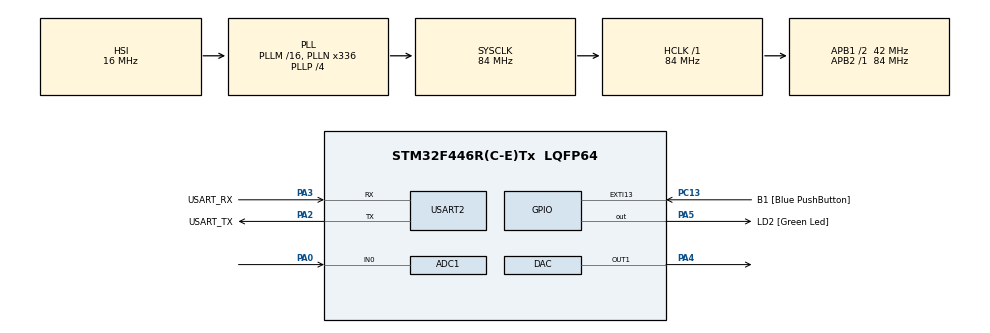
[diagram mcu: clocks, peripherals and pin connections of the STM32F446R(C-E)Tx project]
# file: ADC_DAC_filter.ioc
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ADC1.Channel-2\#ChannelRegularConversion=ADC_CHANNEL_0
ADC1.ContinuousConvMode=DISABLE
ADC1.DiscontinuousConvMode=DISABLE
ADC1.EOCSelection=ADC_EOC_SEQ_CONV
ADC1.NbrOfConversion=1
ADC1.NbrOfConversionFlag=1
ADC1.Rank-2\#ChannelRegularConversion=1
ADC1.SamplingTime-2\#ChannelRegularConversion=ADC_SAMPLETIME_480CYCLES
ADC1.master=1
Mcu.Family=STM32F4
Mcu.Name=STM32F446R(C-E)Tx
Mcu.Package=LQFP64
NVIC.PriorityGroup=NVIC_PRIORITYGROUP_0
PA0-WKUP.Signal=ADCx_IN0
PA13.GPIO_Label=TMS
PA13.Mode=Serial_Wire
PA13.Signal=SYS_JTMS-SWDIO
PA14.GPIO_Label=TCK
PA14.Mode=Serial_Wire
PA14.Signal=SYS_JTCK-SWCLK
PA2.GPIO_Label=USART_TX
PA2.Mode=Asynchronous
PA2.Signal=USART2_TX
PA3.GPIO_Label=USART_RX
PA3.Mode=Asynchronous
PA3.Signal=USART2_RX
PA4.Signal=COMP_DAC1_group
PA5.GPIO_Label=LD2 [Green Led]
PA5.Signal=GPIO_Output
PB3.GPIO_Label=SWO
PB3.Signal=SYS_JTDO-SWO
PC13.GPIO_Label=B1 [Blue PushButton]
PC13.GPIO_ModeDefaultEXTI=GPIO_MODE_IT_FALLING
PC13.Signal=GPXTI13
PC14-OSC32_IN.Mode=LSE-External-Oscillator
PC14-OSC32_IN.Signal=RCC_OSC32_IN
PC15-OSC32_OUT.Mode=LSE-External-Oscillator
PC15-OSC32_OUT.Signal=RCC_OSC32_OUT
PH0-OSC_IN.Mode=HSE-External-Oscillator
PH0-OSC_IN.Signal=RCC_OSC_IN
PH1-OSC_OUT.Mode=HSE-External-Oscillator
PH1-OSC_OUT.Signal=RCC_OSC_OUT
ProjectManager.HeapSize=0x200
ProjectManager.StackSize=0x400
ProjectManager.TargetToolchain=STM32CubeIDE
RCC.48MHZClocksFreq_Value=84000000
RCC.AHBFreq_Value=84000000
RCC.APB1CLKDivider=RCC_HCLK_DIV2
RCC.APB1Freq_Value=42000000
RCC.APB1TimFreq_Value=84000000
RCC.APB2Freq_Value=84000000
RCC.APB2TimFreq_Value=84000000
RCC.CortexFreq_Value=84000000
RCC.FLatency-AdvancedSettings=FLASH_LATENCY_2
RCC.HCLKFreq_Value=84000000
RCC.HSE_VALUE=8000000
RCC.HSI_VALUE=16000000
RCC.PLLN=336
RCC.PLLP=RCC_PLLP_DIV4
RCC.SYSCLKFreq_VALUE=84000000
RCC.SYSCLKSource=RCC_SYSCLKSOURCE_PLLCLK
RCC.USBFreq_Value=168000000
RCC.VCOOutputFreq_Value=336000000
SH.ADCx_IN0.0=ADC1_IN0,IN0
SH.COMP_DAC1_group.0=DAC_OUT1,DAC_OUT1
USART2.VirtualMode=VM_ASYNC
board=NUCLEO-F446RE

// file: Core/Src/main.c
/* USER CODE BEGIN Header */
/**
  ******************************************************************************
  * @file           : main.c
  * @brief          : Main program body
  ******************************************************************************
  * @attention
  *
  * Copyright (c) 2024 STMicroelectronics.
  * All rights reserved.
  *
  * This software is licensed under terms that can be found in the LICENSE file
  * in the root directory of this software component.
  * If no LICENSE file comes with this software, it is provided AS-IS.
  *
  ******************************************************************************
  */
/* USER CODE END Header */
#include "main.h"

ADC_HandleTypeDef hadc1;

DAC_HandleTypeDef hdac;

UART_HandleTypeDef huart2;

void SystemClock_Config(void);
static void MX_GPIO_Init(void);
static void MX_USART2_UART_Init(void);
static void MX_ADC1_Init(void);
static void MX_DAC_Init(void);

/* USER CODE BEGIN 0 */
int value ;
int delta_time ;
double avg ;
int avg_int ;
int counter = 2048 ;
/* USER CODE END 0 */

int main(void)
{

  /* MCU Configuration--------------------------------------------------------*/

  /* Reset of all peripherals, Initializes the Flash interface and the Systick. */
  HAL_Init();

  /* Configure the system clock */
  SystemClock_Config();

  /* Initialize all configured peripherals */
  MX_GPIO_Init();
  MX_USART2_UART_Init();
  MX_ADC1_Init();
  MX_DAC_Init();
  /* USER CODE BEGIN 2 */
  HAL_DAC_Start( &hdac , DAC_CHANNEL_1 );
  HAL_DAC_SetValue( &hdac, DAC_CHANNEL_1, DAC_ALIGN_12B_R, counter ) ;

  HAL_ADC_Start( &hadc1 );
  HAL_StatusTypeDef result_adc = HAL_ADC_PollForConversion( &hadc1 , 100 ) ;
  avg = (double)( hadc1.Instance->DR ) ;

  uint32_t time ;
  uint32_t last_time ;
  uint32_t prev_time ;
  int flag = 0 ;
  uint32_t small_count = 0 ;

  /* USER CODE END 2 */

  /* Infinite loop */
  /* USER CODE BEGIN WHILE */
  while (1)
  {
	  time = HAL_GetTick();
	  if( small_count >= 999 ){
		  delta_time = time - prev_time ;
		  prev_time = time ;
		  small_count = 0 ;
	  }
	  else{
		  small_count++;
	  }

	  HAL_ADC_Start( &hadc1 );
	  HAL_StatusTypeDef result_adc = HAL_ADC_PollForConversion( &hadc1 , 100 ) ;

	  if(result_adc == HAL_OK ){
		  value = ( hadc1.Instance->DR ) ;
		  double alpha = 0.00033 ;
		  avg = (1 - alpha)*avg + alpha*(double)value ;
		  avg_int = (int)avg ;
	  }

	  if( time - last_time > 300 ){
		  flag = 1;
	  }
	  else{
		  flag = 0;
	  }

	  	if( !HAL_GPIO_ReadPin(B1_GPIO_Port, B1_Pin) && flag == 1 ){
	  		HAL_GPIO_WritePin( LD2_GPIO_Port, LD2_Pin, GPIO_PIN_SET ) ;

	  		counter++;
	  		HAL_DAC_SetValue( &hdac, DAC_CHANNEL_1, DAC_ALIGN_12B_R, counter ) ;
	  		last_time = HAL_GetTick();
		}
		else{
			HAL_GPIO_WritePin( LD2_GPIO_Port, LD2_Pin, GPIO_PIN_RESET ) ;
		}

    /* USER CODE END WHILE */

  }
}

void SystemClock_Config(void)
{
  RCC_OscInitTypeDef RCC_OscInitStruct = {0};
  RCC_ClkInitTypeDef RCC_ClkInitStruct = {0};

  /** Configure the main internal regulator output voltage
  */
  __HAL_RCC_PWR_CLK_ENABLE();
  __HAL_PWR_VOLTAGESCALING_CONFIG(PWR_REGULATOR_VOLTAGE_SCALE3);

  /** Initializes the RCC Oscillators according to the specified parameters
  * in the RCC_OscInitTypeDef structure.
  */
  RCC_OscInitStruct.OscillatorType = RCC_OSCILLATORTYPE_HSI;
  RCC_OscInitStruct.HSIState = RCC_HSI_ON;
  RCC_OscInitStruct.HSICalibrationValue = RCC_HSICALIBRATION_DEFAULT;
  RCC_OscInitStruct.PLL.PLLState = RCC_PLL_ON;
  RCC_OscInitStruct.PLL.PLLSource = RCC_PLLSOURCE_HSI;
  RCC_OscInitStruct.PLL.PLLM = 16;
  RCC_OscInitStruct.PLL.PLLN = 336;
  RCC_OscInitStruct.PLL.PLLP = RCC_PLLP_DIV4;
  RCC_OscInitStruct.PLL.PLLQ = 2;
  RCC_OscInitStruct.PLL.PLLR = 2;
  if (HAL_RCC_OscConfig(&RCC_OscInitStruct) != HAL_OK)
  {
    Error_Handler();
  }

  /** Initializes the CPU, AHB and APB buses clocks
  */
  RCC_ClkInitStruct.ClockType = RCC_CLOCKTYPE_HCLK|RCC_CLOCKTYPE_SYSCLK
                              |RCC_CLOCKTYPE_PCLK1|RCC_CLOCKTYPE_PCLK2;
  RCC_ClkInitStruct.SYSCLKSource = RCC_SYSCLKSOURCE_PLLCLK;
  RCC_ClkInitStruct.AHBCLKDivider = RCC_SYSCLK_DIV1;
  RCC_ClkInitStruct.APB1CLKDivider = RCC_HCLK_DIV2;
  RCC_ClkInitStruct.APB2CLKDivider = RCC_HCLK_DIV1;

  if (HAL_RCC_ClockConfig(&RCC_ClkInitStruct, FLASH_LATENCY_2) != HAL_OK)
  {
    Error_Handler();
  }
}

static void MX_ADC1_Init(void)
{

  ADC_ChannelConfTypeDef sConfig = {0};

  /** Configure the global features of the ADC (Clock, Resolution, Data Alignment and number of conversion)
  */
  hadc1.Instance = ADC1;
  hadc1.Init.ClockPrescaler = ADC_CLOCK_SYNC_PCLK_DIV4;
  hadc1.Init.Resolution = ADC_RESOLUTION_12B;
  hadc1.Init.ScanConvMode = DISABLE;
  hadc1.Init.ContinuousConvMode = DISABLE;
  hadc1.Init.DiscontinuousConvMode = DISABLE;
  hadc1.Init.ExternalTrigConvEdge = ADC_EXTERNALTRIGCONVEDGE_NONE;
  hadc1.Init.ExternalTrigConv = ADC_SOFTWARE_START;
  hadc1.Init.DataAlign = ADC_DATAALIGN_RIGHT;
  hadc1.Init.NbrOfConversion = 1;
  hadc1.Init.DMAContinuousRequests = DISABLE;
  hadc1.Init.EOCSelection = ADC_EOC_SEQ_CONV;
  if (HAL_ADC_Init(&hadc1) != HAL_OK)
  {
    Error_Handler();
  }

  /** Configure for the selected ADC regular channel its corresponding rank in the sequencer and its sample time.
  */
  sConfig.Channel = ADC_CHANNEL_0;
  sConfig.Rank = 1;
  sConfig.SamplingTime = ADC_SAMPLETIME_480CYCLES;
  if (HAL_ADC_ConfigChannel(&hadc1, &sConfig) != HAL_OK)
  {
    Error_Handler();
  }

}

static void MX_DAC_Init(void)
{

  DAC_ChannelConfTypeDef sConfig = {0};

  /** DAC Initialization
  */
  hdac.Instance = DAC;
  if (HAL_DAC_Init(&hdac) != HAL_OK)
  {
    Error_Handler();
  }

  /** DAC channel OUT1 config
  */
  sConfig.DAC_Trigger = DAC_TRIGGER_NONE;
  sConfig.DAC_OutputBuffer = DAC_OUTPUTBUFFER_ENABLE;
  if (HAL_DAC_ConfigChannel(&hdac, &sConfig, DAC_CHANNEL_1) != HAL_OK)
  {
    Error_Handler();
  }

}

static void MX_USART2_UART_Init(void)
{

  huart2.Instance = USART2;
  huart2.Init.BaudRate = 115200;
  huart2.Init.WordLength = UART_WORDLENGTH_8B;
  huart2.Init.StopBits = UART_STOPBITS_1;
  huart2.Init.Parity = UART_PARITY_NONE;
  huart2.Init.Mode = UART_MODE_TX_RX;
  huart2.Init.HwFlowCtl = UART_HWCONTROL_NONE;
  huart2.Init.OverSampling = UART_OVERSAMPLING_16;
  if (HAL_UART_Init(&huart2) != HAL_OK)
  {
    Error_Handler();
  }

}

static void MX_GPIO_Init(void)
{
  GPIO_InitTypeDef GPIO_InitStruct = {0};

  /* GPIO Ports Clock Enable */
  __HAL_RCC_GPIOC_CLK_ENABLE();
  __HAL_RCC_GPIOH_CLK_ENABLE();
  __HAL_RCC_GPIOA_CLK_ENABLE();
  __HAL_RCC_GPIOB_CLK_ENABLE();

  /*Configure GPIO pin Output Level */
  HAL_GPIO_WritePin(LD2_GPIO_Port, LD2_Pin, GPIO_PIN_RESET);

  /*Configure GPIO pin : B1_Pin */
  GPIO_InitStruct.Pin = B1_Pin;
  GPIO_InitStruct.Mode = GPIO_MODE_IT_FALLING;
  GPIO_InitStruct.Pull = GPIO_NOPULL;
  HAL_GPIO_Init(B1_GPIO_Port, &GPIO_InitStruct);

  /*Configure GPIO pin : LD2_Pin */
  GPIO_InitStruct.Pin = LD2_Pin;
  GPIO_InitStruct.Mode = GPIO_MODE_OUTPUT_PP;
  GPIO_InitStruct.Pull = GPIO_NOPULL;
  GPIO_InitStruct.Speed = GPIO_SPEED_FREQ_LOW;
  HAL_GPIO_Init(LD2_GPIO_Port, &GPIO_InitStruct);

}

void Error_Handler(void)
{
  __disable_irq();
  while (1)
  {
  }
}
